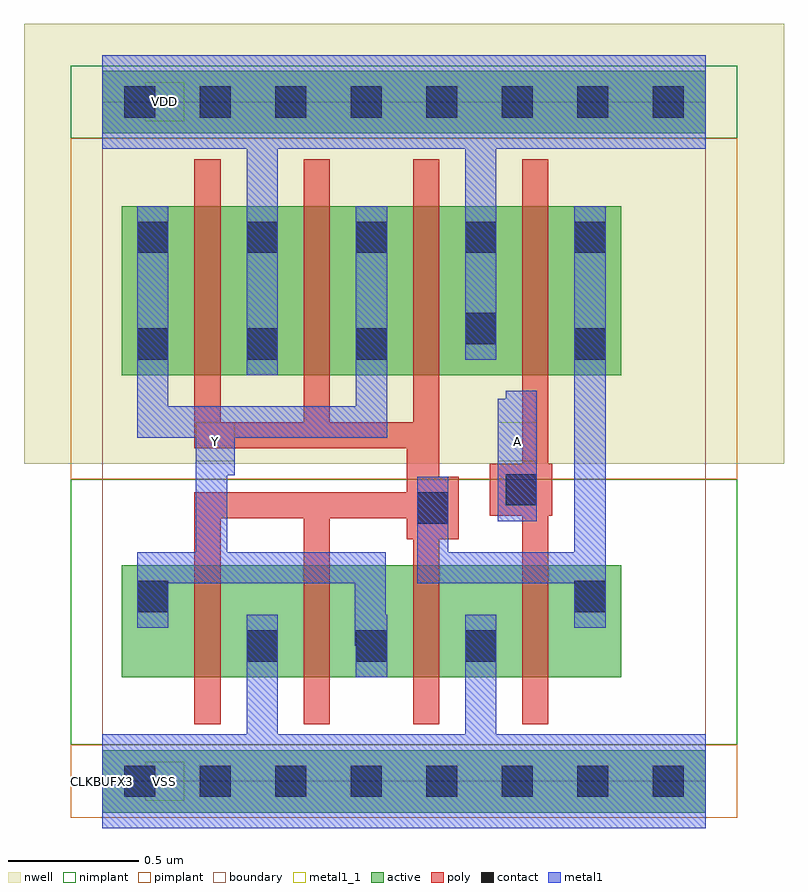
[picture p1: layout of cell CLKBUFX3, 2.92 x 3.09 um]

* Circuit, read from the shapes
.subckt CLKBUFX3 A VDD VSS Y
M1 VSS n1 Y VSS nfet w=0.43u l=0.1u m=3
M2 n1 A VSS VSS nfet w=0.43u l=0.1u
M3 VDD n1 Y VDD pfet w=0.65u l=0.1u m=3
M4 n1 A VDD VDD pfet w=0.65u l=0.1u
.ends

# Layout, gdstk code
import gdstk
lib = gdstk.Library(unit=1e-6, precision=5e-10)
def R(c, l, rs):  # rectangles x0, y0, x1, y1
    for r in rs: c.add(gdstk.rectangle(r[:2], r[2:], *l))
def A(c, l, x, y, w, h, nx, ny, dx, dy):  # array of equal rectangles
    R(c, l, [(x+i*dx, y+j*dy, x+i*dx+w, y+j*dy+h) for i in range(nx) for j in range(ny)])
active = (1, 0)
nwell = (2, 0)
poly = (3, 0)
nimplant = (4, 0)
pimplant = (5, 0)
contact = (6, 0)
metal1 = (7, 0)
metal1_1 = (7, 1)
boundary = (62, 0)

clkbufx3 = lib.new_cell('CLKBUFX3')
R(clkbufx3, active, [(0,-0.12,2.32,0.12), (0.075,0.4,1.995,0.83), (0.075,1.56,1.995,2.21), (0,2.49,2.32,2.73)])
R(clkbufx3, nwell, [(-0.3,1.22,2.62,2.91)])
A(clkbufx3, poly, 0.355, 1.38, 0.1, 1.01, 3, 1, 0.42, 0)
R(clkbufx3, poly, [(0.355,0.22,0.455,1.01), (0.775,0.22,0.875,1.01), (1.195,0.22,1.295,0.93), (1.615,0.22,1.715,1.02), (1.17,0.93,1.37,1.01), (0.355,1.01,1.37,1.11), (1.49,1.02,1.73,1.22), (1.17,1.11,1.37,1.17), (1.17,1.17,1.295,1.28), (1.615,1.22,1.715,2.39), (0.355,1.28,1.295,1.38)])
R(clkbufx3, nimplant, [(-0.12,0.14,2.44,1.16), (-0.12,2.47,2.44,2.75)])
R(clkbufx3, pimplant, [(-0.12,-0.14,2.44,0.14), (-0.12,1.16,2.44,2.47)])
A(clkbufx3, contact, 0.085, -0.06, 0.12, 0.12, 8, 2, 0.29, 2.61)
A(clkbufx3, contact, 0.555, 0.46, 0.12, 0.12, 3, 1, 0.42, 0)
A(clkbufx3, contact, 0.135, 1.62, 0.12, 0.12, 3, 1, 0.42, 0)
A(clkbufx3, contact, 0.135, 2.03, 0.12, 0.12, 5, 1, 0.42, 0)
R(clkbufx3, contact, [(0.135,0.65,0.255,0.77), (1.815,0.65,1.935,0.77), (1.21,0.99,1.33,1.11), (1.55,1.06,1.67,1.18), (1.815,1.62,1.935,1.74), (1.395,1.68,1.515,1.8)])
R(clkbufx3, metal1, [(0,-0.18,2.32,0.18), (0.555,0.18,0.675,0.64), (1.395,0.18,1.515,0.64), (0.975,0.4,1.095,0.52), (0.97,0.52,1.095,0.64), (0.135,0.59,0.255,0.76), (1.815,0.59,1.935,0.76), (0.97,0.64,1.09,0.76), (0.135,0.76,1.09,0.88), (1.21,0.76,1.935,0.88), (0.36,0.88,0.48,1.175), (1.21,0.88,1.33,1.17), (1.815,0.88,1.935,2.21), (1.52,1,1.67,1.47), (0.36,1.175,0.51,1.32), (0.135,1.32,1.095,1.44), (0.135,1.44,0.255,2.21), (0.975,1.44,1.095,2.21), (1.55,1.47,1.67,1.5), (0.555,1.56,0.675,2.43), (1.395,1.62,1.515,2.43), (0,2.43,2.32,2.79)])
R(clkbufx3, metal1_1, [(0.165,-0.075,0.315,0.075), (0.36,1.23,0.51,1.38), (1.52,1.23,1.67,1.38), (0.165,2.535,0.315,2.685)])
R(clkbufx3, boundary, [(0,0,2.32,2.61)])
clkbufx3.add(gdstk.Label('CLKBUFX3', (0,0), layer=63, texttype=0))
clkbufx3.add(gdstk.Label('VSS', (0.24,0), layer=7, texttype=3))
clkbufx3.add(gdstk.Label('VDD', (0.24,2.61), layer=7, texttype=3))
clkbufx3.add(gdstk.Label('A', (1.595,1.305), layer=7, texttype=3))
clkbufx3.add(gdstk.Label('Y', (0.435,1.305), layer=7, texttype=3))

lib.write_gds('CLKBUFX3.gds')
